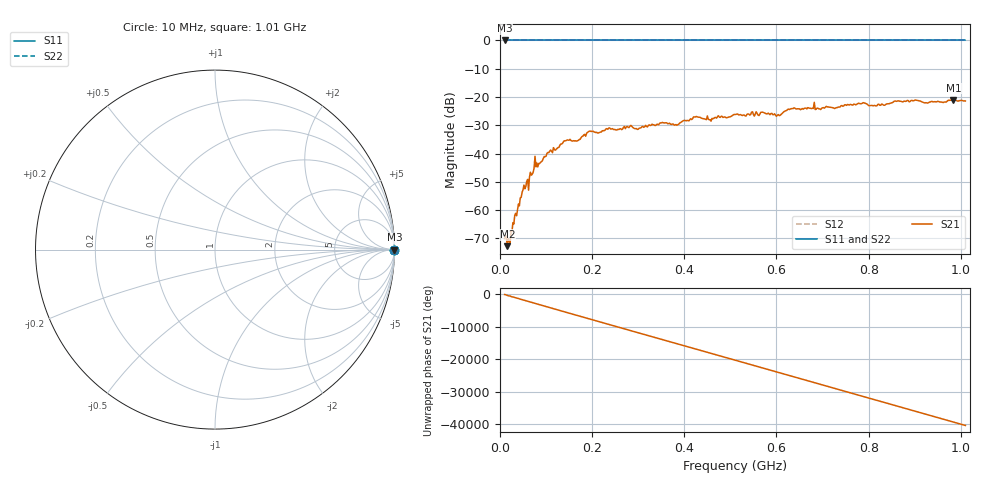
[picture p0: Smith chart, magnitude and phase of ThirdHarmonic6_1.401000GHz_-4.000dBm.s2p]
! 8/16/2025 4:00:45 PM
! C:\ANRITSUVNA\TEMP\TEMP.S2P
! CHANNEL.1
! TR.MEASUREMENT
! RAW.DATA
! RF.CORRECTION.OFF
! AVERAGING.OFF
! IF.BANDWIDTH: 5KHZ
! SWEEPTYPE:  FREQ.SWEEP(Linear)
! Reference Plane Port Info
! PORT:  PORT1  PORT2
! DISTANCE:  0  m  0  m
! TIME:  0  s  0  s
! PHASE.OFFSET:  0  deg.  0  deg.
! LOSS:  0  dB  0  dB
! REF.LOSS:  0  dB  0  dB
! REF.FREQ:  0  Hz  0  Hz
! Power Info
! POWER:  -20  dBm  -20  dBm
! EFF.POWER:  -20  dBm  -20  dBm
! SOURCE.ATTEN:  0  dB  0  dB
! TEST.ATTEN:  0  dB  0  dB
# GHZ S RI R 50.0
! FREQ.GHZ  S11RE  S11IM  S21RE  S21IM  S12RE  S12IM  S22RE  S22IM
!; PortSelection: Port_12
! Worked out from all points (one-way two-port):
!   501 points, 10 MHz to 1.01 GHz, reference 50 ohm
!   highest |S21| = -21.06 dB at 984 MHz (marker M1); lowest = -72.8 dB at 16 MHz (marker M2)
!   lowest |S11| = 0.0 dB at 10 MHz (marker M3)
!   |S11| at or under -10 dB: nowhere
!   |S22| runs from 0.0 to 0.0 dB; largest |S21 - S12| = 1.1
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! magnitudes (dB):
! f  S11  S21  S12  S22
! 10 MHz  0.0  -70.1  0.0  0.0
! 16 MHz  0.0  -72.8  0.0  0.0
! 22 MHz  0.0  -71.6  0.0  0.0
! 48 MHz  0.0  -53.7  0.0  0.0
! 66 MHz  0.0  -46.6  0.0  0.0
! 76 MHz  0.0  -41.0  0.0  0.0
! 142 MHz  0.0  -35.5  0.0  0.0
! 166 MHz  0.0  -35.6  0.0  0.0
! 178 MHz  0.0  -34.0  0.0  0.0
! 196 MHz  0.0  -32.1  0.0  0.0
! 344 MHz  0.0  -29.8  0.0  0.0
! 382 MHz  0.0  -29.7  0.0  0.0
! 424 MHz  0.0  -27.1  0.0  0.0
! 456 MHz  0.0  -28.1  0.0  0.0
! 510 MHz  0.0  -26.2  0.0  0.0
! 570 MHz  0.0  -25.4  0.0  0.0
! 604 MHz  0.0  -26.2  0.0  0.0
! 628 MHz  0.0  -24.4  0.0  0.0
! 678 MHz  0.0  -24.0  0.0  0.0
! 844 MHz  0.0  -22.4  0.0  0.0
! 984 MHz  0.0  -21.1  0.0  0.0
! 1.01 GHz  0.0  -21.4  0.0  0.0
